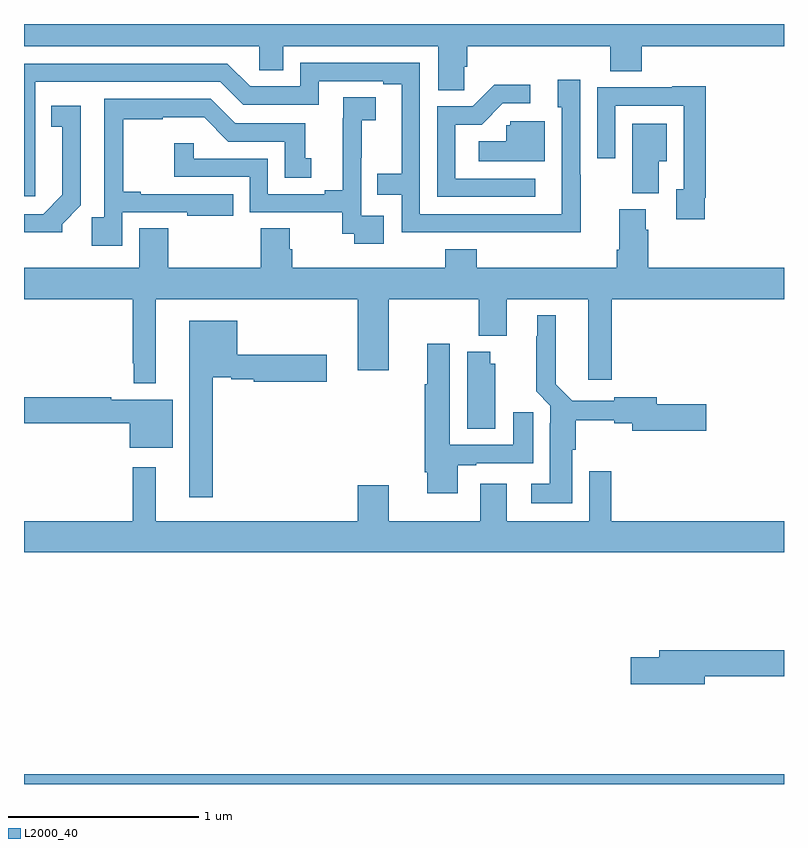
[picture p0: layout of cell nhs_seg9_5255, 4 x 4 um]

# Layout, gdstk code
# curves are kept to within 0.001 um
import gdstk
lib = gdstk.Library(unit=1e-6, precision=1e-09)
def R(c, l, rs):  # rectangles x0, y0, x1, y1
    for r in rs: c.add(gdstk.rectangle(r[:2], r[2:], *l))
def P(c, l, *ps):  # polygons
    for p in ps: c.add(gdstk.Polygon(p, *l))
L2000_40 = (2000, 40)

nhs_seg9_5255 = lib.new_cell('nhs_seg9_5255')
R(nhs_seg9_5255, L2000_40, [(415,1228.5,419,1228.552)])
P(nhs_seg9_5255, L2000_40, [(417.318,1232.275),(417.332,1232.275),(417.332,1232.384),(418.085,1232.384),(418.085,1232.251),(418.25,1232.251),(418.25,1232.384),(419,1232.384),(419,1232.5),(415,1232.5),(415,1232.384),(416.238,1232.384),(416.238,1232.257),(416.365,1232.257),(416.365,1232.384),(417.179,1232.384),(417.179,1232.152),(417.318,1232.152)],
  [(417.929,1231.706),(417.927,1231.706),(417.927,1232.206),(417.809,1232.206),(417.809,1232.061),(417.831,1232.061),(417.831,1231.5),(417.084,1231.5),(417.084,1232.295),(416.454,1232.295),(416.454,1232.172),(416.19,1232.172),(416.07,1232.292),(415,1232.292),(415,1231.593),(415.06,1231.593),(415.059,1232.196),(416.034,1232.196),(416.154,1232.076),(416.55,1232.076),(416.55,1232.199),(416.891,1232.199),(416.891,1232.184),(416.987,1232.184),(416.987,1231.711),(416.86,1231.711),(416.86,1231.602),(416.988,1231.602),(416.988,1231.404),(417.929,1231.403)],
  [(417.691,1231.686),(417.27,1231.686),(417.27,1231.971),(417.408,1231.971),(417.519,1232.082),(417.664,1232.082),(417.664,1232.18),(417.476,1232.18),(417.363,1232.067),(417.174,1232.067),(417.174,1231.59),(417.691,1231.59)],
  [(418.582,1231.585),(418.589,1231.585),(418.589,1232.173),(418.413,1232.173),(418.413,1232.166),(418.017,1232.166),(418.017,1231.794),(418.113,1231.794),(418.113,1232.07),(418.473,1232.07),(418.473,1231.629),(418.433,1231.629),(418.433,1231.473),(418.582,1231.473)],
  [(416.893,1231.491),(416.775,1231.491),(416.775,1231.795),(416.777,1231.795),(416.777,1231.993),(416.851,1231.993),(416.851,1232.114),(416.68,1232.114),(416.68,1232.003),(416.678,1232.003),(416.678,1231.625),(416.582,1231.625),(416.582,1231.605),(416.283,1231.605),(416.283,1231.791),(415.893,1231.791),(415.893,1231.873),(415.792,1231.873),(415.792,1231.695),(416.187,1231.695),(416.187,1231.509),(416.674,1231.509),(416.674,1231.395),(416.737,1231.395),(416.737,1231.344),(416.893,1231.344)],
  [(415.518,1231.509),(415.859,1231.509),(415.859,1231.49),(416.102,1231.49),(416.102,1231.605),(415.615,1231.605),(415.615,1231.618),(415.523,1231.618),(415.523,1231.998),(415.73,1231.998),(415.73,1232.009),(415.948,1232.009),(416.076,1231.881),(416.372,1231.881),(416.372,1231.69),(416.512,1231.69),(416.512,1231.794),(416.479,1231.794),(416.479,1231.977),(416.112,1231.977),(415.983,1232.106),(415.422,1232.106),(415.422,1231.483),(415.357,1231.483),(415.357,1231.332),(415.518,1231.332)],
  [(415.2,1231.447),(415.299,1231.546),(415.299,1232.071),(415.144,1232.071),(415.144,1231.958),(415.202,1231.958),(415.202,1231.601),(415.101,1231.5),(415,1231.5),(415,1231.403),(415.2,1231.403)],
  [(417.742,1231.989),(417.558,1231.989),(417.558,1231.968),(417.537,1231.968),(417.537,1231.882),(417.393,1231.882),(417.393,1231.778),(417.742,1231.778)],
  [(418.342,1231.778),(418.384,1231.778),(418.384,1231.975),(418.202,1231.975),(418.202,1231.609),(418.342,1231.609)],
  [(415.693,1231.052),(416.756,1231.052),(416.756,1230.678),(416.92,1230.678),(416.92,1231.052),(417.394,1231.052),(417.394,1230.86),(417.541,1230.86),(417.541,1231.052),(417.971,1231.052),(417.971,1230.627),(418.094,1230.627),(418.094,1231.052),(419,1231.052),(419,1231.216),(418.286,1231.216),(418.286,1231.418),(418.273,1231.418),(418.273,1231.524),(418.133,1231.524),(418.133,1231.312),(418.121,1231.312),(418.121,1231.216),(417.383,1231.216),(417.383,1231.315),(417.218,1231.315),(417.218,1231.216),(416.411,1231.216),(416.411,1231.314),(416.398,1231.314),(416.398,1231.424),(416.246,1231.424),(416.246,1231.216),(415.76,1231.216),(415.76,1231.424),(415.607,1231.424),(415.607,1231.216),(415,1231.216),(415,1231.052),(415.572,1231.052),(415.572,1230.715),(415.578,1230.715),(415.578,1230.608),(415.693,1230.608)],
  [(417.886,1230.258),(417.904,1230.258),(417.904,1230.415),(418.106,1230.415),(418.106,1230.4),(418.202,1230.4),(418.202,1230.358),(418.591,1230.358),(418.591,1230.5),(418.33,1230.5),(418.33,1230.536),(418.106,1230.536),(418.106,1230.516),(417.886,1230.516),(417.799,1230.604),(417.799,1230.967),(417.701,1230.967),(417.701,1230.857),(417.697,1230.857),(417.697,1230.566),(417.771,1230.492),(417.771,1230.398),(417.767,1230.398),(417.767,1230.079),(417.669,1230.079),(417.669,1229.978),(417.886,1229.978)],
  [(415.993,1230.641),(416.09,1230.641),(416.09,1230.629),(416.208,1230.629),(416.208,1230.617),(416.593,1230.617),(416.593,1230.759),(416.122,1230.759),(416.122,1230.937),(415.871,1230.937),(415.871,1230.009),(415.993,1230.009)],
  [(417.283,1230.177),(417.379,1230.177),(417.379,1230.189),(417.679,1230.189),(417.679,1230.457),(417.575,1230.457),(417.575,1230.285),(417.241,1230.285),(417.241,1230.817),(417.122,1230.817),(417.122,1230.604),(417.11,1230.604),(417.11,1230.142),(417.122,1230.142),(417.122,1230.03),(417.283,1230.03)],
  [(417.481,1230.711),(417.454,1230.711),(417.454,1230.775),(417.332,1230.775),(417.332,1230.37),(417.481,1230.37)],
  [(415.783,1230.523),(415.46,1230.523),(415.46,1230.536),(415,1230.536),(415,1230.4),(415.556,1230.4),(415.556,1230.269),(415.783,1230.269)],
  [(419,1229.884),(418.091,1229.884),(418.091,1230.145),(417.975,1230.145),(417.975,1229.884),(417.541,1229.884),(417.541,1230.079),(417.401,1230.079),(417.401,1229.884),(416.92,1229.884),(416.92,1230.073),(416.756,1230.073),(416.756,1229.884),(415.693,1229.884),(415.693,1230.166),(415.572,1230.166),(415.572,1229.884),(415,1229.884),(415,1229.72),(419,1229.72)],
  [(418.582,1229.068),(419,1229.068),(419,1229.204),(418.343,1229.204),(418.343,1229.168),(418.194,1229.168),(418.194,1229.026),(418.582,1229.026)])

lib.write_gds('nhs_seg9_5255.gds')
